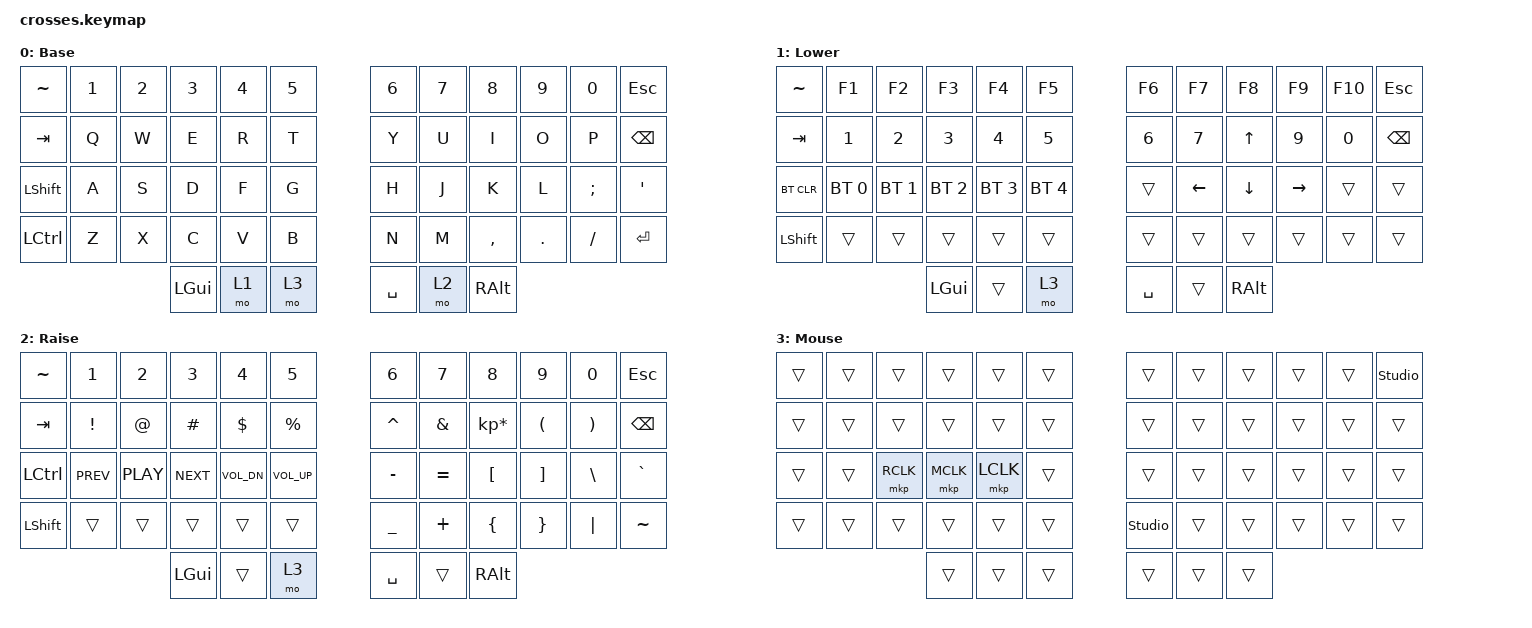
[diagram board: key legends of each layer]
#include <behaviors.dtsi>
#include <dt-bindings/zmk/bt.h>
#include <dt-bindings/zmk/keys.h>
#include <dt-bindings/zmk/pointing.h>

/ {
    chosen { zmk,physical-layout = &gggw_crosses_54_layout; };

    keymap {
        compatible = "zmk,keymap";
        default_layer {
            display-name = "Base";
            bindings = <
                &kp TILDE &kp N1 &kp N2 &kp N3 &kp N4 &kp N5   &kp N6 &kp N7  &kp N8     &kp N9   &kp N0    &kp ESC
                &kp TAB   &kp Q  &kp W  &kp E  &kp R  &kp T    &kp Y &kp U  &kp I     &kp O   &kp P    &kp BSPC
                &kp LSHFT &kp A  &kp S  &kp D  &kp F  &kp G    &kp H &kp J  &kp K     &kp L   &kp SEMI &kp SQT
                &kp LCTRL &kp Z  &kp X  &kp C  &kp V  &kp B    &kp N &kp M  &kp COMMA &kp DOT &kp FSLH &kp RET
                            &kp LGUI &mo 1 &mo 3   &kp SPACE &mo 2 &kp RALT
            >;
        };

        lower_layer {
            display-name = "Lower";
            bindings = <
                &kp TILDE &kp F1 &kp F2 &kp F3 &kp F4 &kp F5   &kp F6 &kp F7  &kp F8     &kp F9   &kp F10    &kp ESC
                &kp TAB    &kp N1       &kp N2       &kp N3       &kp N4       &kp N5         &kp N6   &kp N7   &kp UP &kp N9    &kp N0 &kp BSPC
                &bt BT_CLR &bt BT_SEL 0 &bt BT_SEL 1 &bt BT_SEL 2 &bt BT_SEL 3 &bt BT_SEL 4   &trans &kp LEFT &kp DOWN &kp RIGHT &trans &trans
                &kp LSHFT  &trans       &trans       &trans       &trans       &trans         &trans   &trans   &trans &trans    &trans &trans
                                            &kp LGUI     &trans       &mo 3      &kp SPACE  &trans   &kp RALT

            >;
        };

        raise_layer {
            display-name = "Raise";
            bindings = <
                &kp TILDE &kp N1 &kp N2 &kp N3 &kp N4 &kp N5   &kp N6 &kp N7  &kp N8     &kp N9   &kp N0    &kp ESC
                &kp  TAB  &kp EXCL &kp AT &kp HASH &kp DLLR &kp PRCNT   &kp CARET &kp AMPS  &kp KP_MULTIPLY &kp LPAR &kp RPAR &kp BSPC
                &kp LCTRL &kp C_PREV   &kp C_PLAY &kp C_NEXT   &kp C_VOL_DN   &kp C_VOL_UP      &kp MINUS &kp EQUAL &kp LBKT        &kp RBKT &kp BSLH &kp GRAVE
                &kp LSHFT &trans   &trans &trans   &trans   &trans      &kp UNDER &kp PLUS  &kp LBRC        &kp RBRC &kp PIPE &kp TILDE
                                       &kp LGUI &trans   &mo 3   &kp SPACE   &trans    &kp RALT
            >;
        };

        mouse_layer {
            display-name = "Mouse";
            bindings = <
                &trans         &trans     &trans     &trans     &trans     &trans     &trans       &trans     &trans       &trans       &trans       &studio_unlock
                &trans         &trans     &trans     &trans     &trans     &trans     &trans       &trans     &trans       &trans       &trans       &trans
                &trans         &trans     &mkp RCLK  &mkp MCLK  &mkp LCLK  &trans     &trans       &trans     &trans       &trans       &trans       &trans
                &trans         &trans     &trans     &trans     &trans     &trans     &studio_unlock       &trans     &trans       &trans       &trans       &trans
                                                     &trans     &trans     &trans     &trans       &trans     &trans     
            >;
        };
    };
};
